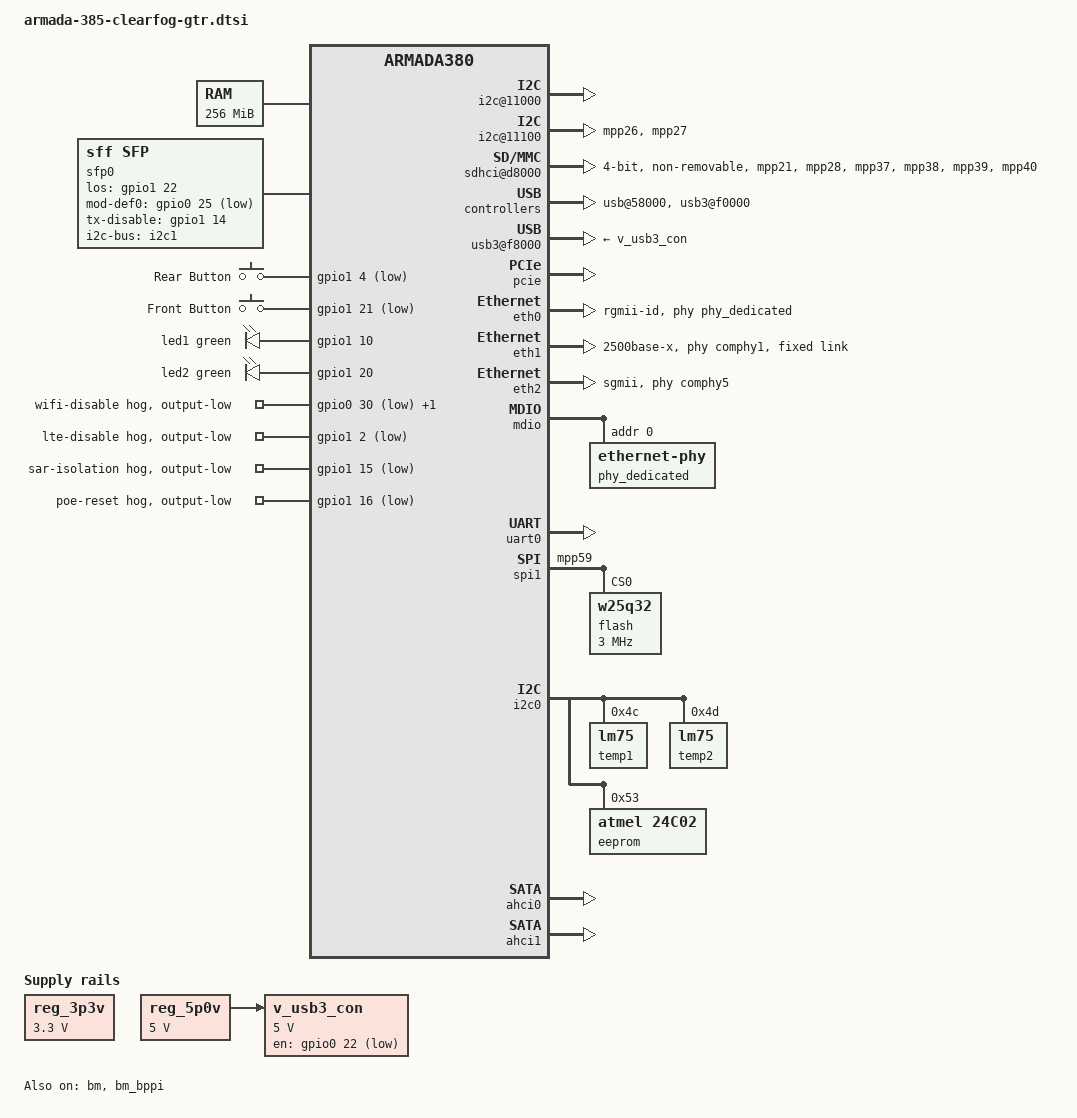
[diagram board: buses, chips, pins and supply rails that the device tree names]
// SPDX-License-Identifier: (GPL-2.0 OR MIT)
/*
 * Device Tree file for Clearfog GTR machines rev 1.0 (88F6825)
 *
 *  Rabeeh Khoury <rabeeh@solid-run.com>, based on Russell King clearfog work
 */

/*
	SERDES mapping -
	0. SATA1 on CON18, or optionally mini PCIe CON3 - PCIe0
	1. 6141 switch (2.5Gbps capable)
	2. SATA0 on CON17, or optionally mini PCIe CON4 - PCIe1
	3. USB 3.0 Host
	4. mini PCIe CON2 - PCIe2
	5. SFP connector, or optionally SGMII Ethernet 1512 PHY

	USB 2.0 mapping -
	0. USB 2.0 - 0 USB pins header CON12
	1. USB 2.0 - 1 mini PCIe CON2
	2. USB 2.0 - 2 to USB 3.0 connector (used with SERDES #3)

	Pin mapping -
	0,1 - console UART
	2,3 - I2C0 - connected to I2C EEPROM, two temperature sensors,
	      front panel and PSE controller
	4,5 - MDC/MDIO
	6..17 - RGMII
	18 - Topaz switch reset (active low)
	19 - 1512 phy reset
	20 - 1512 phy reset (eth2, optional)
	21,28,37,38,39,40 - SD0
	22 - USB 3.0 current limiter enable (active high)
	24 - SFP TX fault (input active high)
	25 - SFP present (input active low)
	26,27 - I2C1 - connected to SFP
	29 - Fan PWM
	30 - CON4 mini PCIe wifi disable
	31 - CON3 mini PCIe wifi disable
	32 - Fuse programming power toggle (1.8v)
	33 - CON4 mini PCIe reset
	34 - CON2 mini PCIe wifi disable
	35 - CON3 mini PCIe reset
	36 - Rear button (GPIO active low)
	41 - CON1 front panel connector
	42 - Front LED1, or front panel CON1
	43 - Micron L-PBGA 24 ball SPI (1Gb) CS, or TPM SPI CS
	44 - CON2 mini PCIe reset
	45 - TPM PIRQ signal, or front panel CON1
	46 - SFP TX disable
	47 - Control isolation of boot sensitive SAR signals
	48 - PSE reset
	49 - PSE OSS signal
	50 - PSE interrupt
	52 - Front LED2, or front panel
	53 - Front button
	54 - SFP LOS (input active high)
	55 - Fan sense
	56(mosi),57(clk),58(miso) - SPI interface - 32Mb SPI, 1Gb SPI and TPM
	59 - SPI 32Mb W25Q32BVZPIG CS0 chip select (bootable)
*/

/dts-v1/;
#include <dt-bindings/input/input.h>
#include <dt-bindings/gpio/gpio.h>
#include <dt-bindings/leds/common.h>
#include "armada-385.dtsi"

/ {
	compatible = "marvell,armada385", "marvell,armada380";

	aliases {
		/* So that mvebu u-boot can update the MAC addresses */
		ethernet1 = &eth0;
		ethernet2 = &eth1;
		ethernet3 = &eth2;
		i2c0 = &i2c0;
		i2c1 = &i2c1;
	};

	chosen {
		stdout-path = "serial0:115200n8";
	};

	memory {
		device_type = "memory";
		reg = <0x00000000 0x10000000>; /* 256 MB */
	};

	reg_3p3v: regulator-3p3v {
		compatible = "regulator-fixed";
		regulator-name = "3P3V";
		regulator-min-microvolt = <3300000>;
		regulator-max-microvolt = <3300000>;
		regulator-always-on;
	};

	reg_5p0v: regulator-5p0v {
		compatible = "regulator-fixed";
		regulator-name = "5P0V";
		regulator-min-microvolt = <5000000>;
		regulator-max-microvolt = <5000000>;
		regulator-always-on;
	};

	v_usb3_con: regulator-v-usb3-con {
		compatible = "regulator-fixed";
		gpio = <&gpio0 22 GPIO_ACTIVE_LOW>;
		pinctrl-names = "default";
		pinctrl-0 = <&cf_gtr_usb3_con_vbus>;
		regulator-max-microvolt = <5000000>;
		regulator-min-microvolt = <5000000>;
		regulator-name = "v_usb3_con";
		vin-supply = <&reg_5p0v>;
		regulator-boot-on;
		regulator-always-on;
	};

	soc {
		ranges = <MBUS_ID(0xf0, 0x01) 0 0xf1000000 0x100000
			  MBUS_ID(0x01, 0x1d) 0 0xfff00000 0x100000
			  MBUS_ID(0x09, 0x19) 0 0xf1100000 0x10000
			  MBUS_ID(0x09, 0x15) 0 0xf1110000 0x10000
			  MBUS_ID(0x0c, 0x04) 0 0xf1200000 0x100000>;

		internal-regs {

			rtc@a3800 {
				status = "okay";
			};

			i2c@11000 { /* ROM, temp sensor and front panel */
				pinctrl-0 = <&i2c0_pins>;
				pinctrl-names = "default";
				status = "okay";
			};

			i2c@11100 { /* SFP (CON5/CON6) */
				pinctrl-0 = <&cf_gtr_i2c1_pins>;
				pinctrl-names = "default";
				status = "okay";
			};

			pinctrl@18000 {
				cf_gtr_switch_reset_pins: cf-gtr-switch-reset-pins {
					marvell,pins = "mpp18";
					marvell,function = "gpio";
				};

				cf_gtr_usb3_con_vbus: cf-gtr-usb3-con-vbus {
					marvell,pins = "mpp22";
					marvell,function = "gpio";
				};

				cf_gtr_fan_pwm: cf-gtr-fan-pwm {
					marvell,pins = "mpp23";
					marvell,function = "gpio";
				};

				cf_gtr_i2c1_pins: i2c1-pins {
					/* SFP */
					marvell,pins = "mpp26", "mpp27";
					marvell,function = "i2c1";
				};

				cf_gtr_sdhci_pins: cf-gtr-sdhci-pins {
					marvell,pins = "mpp21", "mpp28",
						       "mpp37", "mpp38",
						       "mpp39", "mpp40";
					marvell,function = "sd0";
				};

				cf_gtr_isolation_pins: cf-gtr-isolation-pins {
					marvell,pins = "mpp47";
					marvell,function = "gpio";
				};

				cf_gtr_poe_reset_pins: cf-gtr-poe-reset-pins {
					marvell,pins = "mpp48";
					marvell,function = "gpio";
				};

				cf_gtr_spi1_cs_pins: spi1-cs-pins {
					marvell,pins = "mpp59";
					marvell,function = "spi1";
				};

				cf_gtr_front_button_pins: cf-gtr-front-button-pins {
					marvell,pins = "mpp53";
					marvell,function = "gpio";
				};

				cf_gtr_rear_button_pins: cf-gtr-rear-button-pins {
					marvell,pins = "mpp36";
					marvell,function = "gpio";
				};
			};

			sdhci@d8000 {
				bus-width = <4>;
				no-1-8-v;
				non-removable;
				pinctrl-0 = <&cf_gtr_sdhci_pins>;
				pinctrl-names = "default";
				status = "okay";
				vmmc = <&reg_3p3v>;
				wp-inverted;
			};

			usb@58000 {
				status = "okay";
			};

			usb3@f0000 {
				status = "okay";
			};

			usb3@f8000 {
				vbus-supply = <&v_usb3_con>;
				status = "okay";
			};
		};

		pcie {
			status = "okay";
			/*
			 * The PCIe units are accessible through
			 * the mini-PCIe connectors on the board.
			 */
			pcie@1,0 {
				reset-gpios = <&gpio1 3 GPIO_ACTIVE_LOW>;
				status = "okay";
			};

			pcie@2,0 {
				reset-gpios = <&gpio1 1 GPIO_ACTIVE_LOW>;
				status = "okay";
			};

			pcie@3,0 {
				reset-gpios = <&gpio1 12 GPIO_ACTIVE_LOW>;
				status = "okay";
			};
		};
	};

	sfp0: sfp {
		compatible = "sff,sfp";
		i2c-bus = <&i2c1>;
		los-gpio = <&gpio1 22 GPIO_ACTIVE_HIGH>;
		mod-def0-gpio = <&gpio0 25 GPIO_ACTIVE_LOW>;
		tx-disable-gpio = <&gpio1 14 GPIO_ACTIVE_HIGH>;
	};

	gpio-keys {
		compatible = "gpio-keys";
		pinctrl-0 = <&cf_gtr_rear_button_pins &cf_gtr_front_button_pins>;
		pinctrl-names = "default";

		button_0 {
			label = "Rear Button";
			gpios = <&gpio1 4 GPIO_ACTIVE_LOW>;
			linux,can-disable;
			linux,code = <BTN_0>;
		};

		button_1 {
			label = "Front Button";
			gpios = <&gpio1 21 GPIO_ACTIVE_LOW>;
			linux,can-disable;
			linux,code = <BTN_1>;
		};
	};

	gpio-leds {
		compatible = "gpio-leds";

		led1 {
			function = LED_FUNCTION_CPU;
			color = <LED_COLOR_ID_GREEN>;
			gpios = <&gpio1 10 GPIO_ACTIVE_HIGH>;
		};

		led2 {
			function = LED_FUNCTION_HEARTBEAT;
			color = <LED_COLOR_ID_GREEN>;
			gpios = <&gpio1 20 GPIO_ACTIVE_HIGH>;
		};
	};
};

&bm {
	status = "okay";
};

&bm_bppi {
	status = "okay";
};

&eth0 {
	/* ethernet@70000 */
	pinctrl-0 = <&ge0_rgmii_pins>;
	pinctrl-names = "default";
	phy = <&phy_dedicated>;
	phy-mode = "rgmii-id";
	buffer-manager = <&bm>;
	bm,pool-long = <0>;
	bm,pool-short = <1>;
	status = "okay";
};

&eth1 {
	/* ethernet@30000 */
	bm,pool-long = <2>;
	bm,pool-short = <1>;
	buffer-manager = <&bm>;
	phys = <&comphy1 1>;
	phy-mode = "2500base-x";
	status = "okay";

	fixed-link {
		speed = <2500>;
		full-duplex;
	};
};

&eth2 {
	/* ethernet@34000 */
	bm,pool-long = <3>;
	bm,pool-short = <1>;
	buffer-manager = <&bm>;
	managed = "in-band-status";
	phys = <&comphy5 1>;
	phy-mode = "sgmii";
	sfp = <&sfp0>;
	status = "okay";
};

&mdio {
	pinctrl-names = "default";
	pinctrl-0 = <&mdio_pins>;
	status = "okay";

	phy_dedicated: ethernet-phy@0 {
		/*
		 * Annoyingly, the marvell phy driver configures the LED
		 * register, rather than preserving reset-loaded setting.
		 * We undo that rubbish here.
		 */
		marvell,reg-init = <3 16 0 0x1017>;
		reg = <0>;
	};
};

&uart0 {
	pinctrl-0 = <&uart0_pins>;
	pinctrl-names = "default";
	status = "okay";
};

&spi1 {
	/*
	 * CS0: W25Q32 flash
	 */
	pinctrl-0 = <&spi1_pins &cf_gtr_spi1_cs_pins>;
	pinctrl-names = "default";
	status = "okay";

	flash@0 {
		#address-cells = <1>;
		#size-cells = <0>;
		compatible = "w25q32", "jedec,spi-nor";
		reg = <0>; /* Chip select 0 */
		spi-max-frequency = <3000000>;
		status = "okay";
	};
};

&i2c0 {
	pinctrl-0 = <&i2c0_pins>;
	pinctrl-names = "default";
	status = "okay";

	/* U26 temperature sensor placed near SoC */
	temp1: nct75@4c {
		compatible = "lm75";
		reg = <0x4c>;
	};

	/* U27 temperature sensor placed near RTC battery */
	temp2: nct75@4d {
		compatible = "lm75";
		reg = <0x4d>;
	};

	/* 2Kb eeprom */
	eeprom@53 {
		compatible = "atmel,24c02";
		reg = <0x53>;
	};
};

&ahci0 {
	status = "okay";
};

&ahci1 {
	status = "okay";
};

&gpio0 {
	pinctrl-0 = <&cf_gtr_fan_pwm>;
	pinctrl-names = "default";

	wifi-disable {
		gpio-hog;
		gpios = <30 GPIO_ACTIVE_LOW>, <31 GPIO_ACTIVE_LOW>;
		output-low;
		line-name = "wifi-disable";
	};
};

&gpio1 {
	pinctrl-0 = <&cf_gtr_isolation_pins &cf_gtr_poe_reset_pins>;
	pinctrl-names = "default";

	lte-disable {
		gpio-hog;
		gpios = <2 GPIO_ACTIVE_LOW>;
		output-low;
		line-name = "lte-disable";
	};

	/*
	 * This signal, when asserted, isolates Armada 38x sample at reset pins
	 * from control of external devices. Should be de-asserted after reset.
	 */
	sar-isolation {
		gpio-hog;
		gpios = <15 GPIO_ACTIVE_LOW>;
		output-low;
		line-name = "sar-isolation";
	};

	poe-reset {
		gpio-hog;
		gpios = <16 GPIO_ACTIVE_LOW>;
		output-low;
		line-name = "poe-reset";
	};
};
